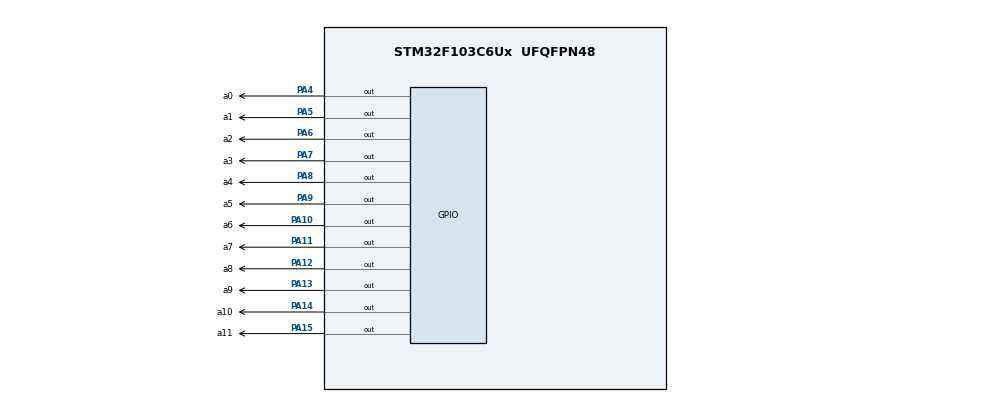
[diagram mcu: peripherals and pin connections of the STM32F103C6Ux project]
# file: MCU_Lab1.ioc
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Mcu.Family=STM32F1
Mcu.Name=STM32F103C6Ux
Mcu.Package=UFQFPN48
NVIC.PriorityGroup=NVIC_PRIORITYGROUP_4
PA10.GPIO_Label=a6
PA10.Signal=GPIO_Output
PA11.GPIO_Label=a7
PA11.Signal=GPIO_Output
PA12.GPIO_Label=a8
PA12.Signal=GPIO_Output
PA13.GPIO_Label=a9
PA13.Signal=GPIO_Output
PA14.GPIO_Label=a10
PA14.Signal=GPIO_Output
PA15.GPIO_Label=a11
PA15.Signal=GPIO_Output
PA4.GPIO_Label=a0
PA4.Signal=GPIO_Output
PA5.GPIO_Label=a1
PA5.Signal=GPIO_Output
PA6.GPIO_Label=a2
PA6.Signal=GPIO_Output
PA7.GPIO_Label=a3
PA7.Signal=GPIO_Output
PA8.GPIO_Label=a4
PA8.Signal=GPIO_Output
PA9.GPIO_Label=a5
PA9.Signal=GPIO_Output
ProjectManager.HeapSize=0x200
ProjectManager.StackSize=0x400
ProjectManager.TargetToolchain=STM32CubeIDE
RCC.APB1Freq_Value=8000000
RCC.APB2Freq_Value=8000000
VP_SYS_VS_ND.Mode=No_Debug
board=custom

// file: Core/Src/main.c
/* USER CODE BEGIN Header */
/**
  ******************************************************************************
  * @file           : main.c
  * @brief          : Main program body
  ******************************************************************************
  * @attention
  *
  * <h2><center>&copy; Copyright (c) 2025 STMicroelectronics.
  * All rights reserved.</center></h2>
  *
  * This software component is licensed by ST under BSD 3-Clause license,
  * the "License"; You may not use this file except in compliance with the
  * License. You may obtain a copy of the License at:
  *                        opensource.org/licenses/BSD-3-Clause
  *
  ******************************************************************************
  */
/* USER CODE END Header */
#include "main.h"

void SystemClock_Config(void);
static void MX_GPIO_Init(void);

/* USER CODE BEGIN 0 */
uint16_t led_pins[12] = {
    a0_Pin, a1_Pin, a2_Pin, a3_Pin,
    a4_Pin, a5_Pin, a6_Pin, a7_Pin,
    a8_Pin, a9_Pin, a10_Pin, a11_Pin
};

int oldHour = -1;
int oldMinute = -1;
int oldSecond = -1;
/* USER CODE END 0 */

int main(void)
{
  /* USER CODE BEGIN 1 */
	int hour = 0, minute = 0, second = 0;
    int state = 0;   // 0 = đang bật dần, 1 = đang tắt dần
    int index = 0;   // vị trí LED
  /* USER CODE END 1 */

  /* MCU Configuration--------------------------------------------------------*/

  /* Reset of all peripherals, Initializes the Flash interface and the Systick. */
  HAL_Init();

  /* Configure the system clock */
  SystemClock_Config();

  /* Initialize all configured peripherals */
  MX_GPIO_Init();
  /* USER CODE BEGIN 2 */
  //displayClock(hour, minute, second);
  /* USER CODE END 2 */

  /* Infinite loop */
  while (1)
  {

    /* USER CODE BEGIN 3 */
      if (state == 0) {
          // Bật LED từng cái
          setNumberOnClock(index);
          index++;
          if (index >= 12) {
              state = 1;  // chuyển sang chế độ clear
              index = 0;
          }
      } else {
          // Tắt LED từng cái
          clearNumberOnClock(index);
          index++;
          if (index >= 12) {
              state = 0;  // quay lại chế độ set
              index = 0;
          }
      }

      HAL_Delay(500); // chỉ 1 delay cho mỗi lần bật/tắt
}
  /* USER CODE END 3 */
}

void SystemClock_Config(void)
{
  RCC_OscInitTypeDef RCC_OscInitStruct = {0};
  RCC_ClkInitTypeDef RCC_ClkInitStruct = {0};

  /** Initializes the RCC Oscillators according to the specified parameters
  * in the RCC_OscInitTypeDef structure.
  */
  RCC_OscInitStruct.OscillatorType = RCC_OSCILLATORTYPE_HSI;
  RCC_OscInitStruct.HSIState = RCC_HSI_ON;
  RCC_OscInitStruct.HSICalibrationValue = RCC_HSICALIBRATION_DEFAULT;
  RCC_OscInitStruct.PLL.PLLState = RCC_PLL_NONE;
  if (HAL_RCC_OscConfig(&RCC_OscInitStruct) != HAL_OK)
  {
    Error_Handler();
  }
  /** Initializes the CPU, AHB and APB buses clocks
  */
  RCC_ClkInitStruct.ClockType = RCC_CLOCKTYPE_HCLK|RCC_CLOCKTYPE_SYSCLK
                              |RCC_CLOCKTYPE_PCLK1|RCC_CLOCKTYPE_PCLK2;
  RCC_ClkInitStruct.SYSCLKSource = RCC_SYSCLKSOURCE_HSI;
  RCC_ClkInitStruct.AHBCLKDivider = RCC_SYSCLK_DIV1;
  RCC_ClkInitStruct.APB1CLKDivider = RCC_HCLK_DIV1;
  RCC_ClkInitStruct.APB2CLKDivider = RCC_HCLK_DIV1;

  if (HAL_RCC_ClockConfig(&RCC_ClkInitStruct, FLASH_LATENCY_0) != HAL_OK)
  {
    Error_Handler();
  }
}

static void MX_GPIO_Init(void)
{
  GPIO_InitTypeDef GPIO_InitStruct = {0};

  /* GPIO Ports Clock Enable */
  __HAL_RCC_GPIOA_CLK_ENABLE();

  /*Configure GPIO pin Output Level */
  HAL_GPIO_WritePin(GPIOA, a0_Pin|a1_Pin|a2_Pin|a3_Pin
                          |a4_Pin|a5_Pin|a6_Pin|a7_Pin
                          |a8_Pin|a9_Pin|a10_Pin|a11_Pin, GPIO_PIN_SET);

  /*Configure GPIO pins : a0_Pin a1_Pin a2_Pin a3_Pin
                           a4_Pin a5_Pin a6_Pin a7_Pin
                           a8_Pin a9_Pin a10_Pin a11_Pin */
  GPIO_InitStruct.Pin = a0_Pin|a1_Pin|a2_Pin|a3_Pin
                          |a4_Pin|a5_Pin|a6_Pin|a7_Pin
                          |a8_Pin|a9_Pin|a10_Pin|a11_Pin;
  GPIO_InitStruct.Mode = GPIO_MODE_OUTPUT_PP;
  GPIO_InitStruct.Pull = GPIO_NOPULL;
  GPIO_InitStruct.Speed = GPIO_SPEED_FREQ_LOW;
  HAL_GPIO_Init(GPIOA, &GPIO_InitStruct);

}

/* USER CODE BEGIN 4 */
void clearAllClock(void) {
    for (int i = 0; i < 12; i++) {
        HAL_GPIO_WritePin(GPIOA, led_pins[i], GPIO_PIN_SET);
    }
}

// Bật LED tại vị trí num (0–11)
void setNumberOnClock(int num) {
    if (num < 0 || num > 11) return;
    HAL_GPIO_WritePin(GPIOA, led_pins[num], GPIO_PIN_RESET);
}

// Tắt LED tại vị trí num (0–11)
void clearNumberOnClock(int num) {
    if (num < 0 || num > 11) return;
    HAL_GPIO_WritePin(GPIOA, led_pins[num], GPIO_PIN_SET);
}

// Hiển thị đồng hồ analog với giờ, phút, giây
void displayClock(int hour, int minute, int second) {
    // Tính vị trí LED cho giờ, phút, giây
    int hourPos = hour % 12; // Giờ trong định dạng 12 giờ
    int minPos = minute / 5; // Mỗi 5 phút tương ứng 1 LED
    int secPos = second / 5; // Mỗi 5 giây tương ứng 1 LED

    // Xóa LED ở vị trí cũ nếu không còn được sử dụng bởi kim nào
    if (oldHour != hourPos && oldHour != -1 && oldHour != minPos && oldHour != secPos) {
        clearNumberOnClock(oldHour);
    }
    if (oldMinute != minPos && oldMinute != -1 && oldMinute != hourPos && oldMinute != secPos) {
        clearNumberOnClock(oldMinute);
    }
    if (oldSecond != secPos && oldSecond != -1 && oldSecond != hourPos && oldSecond != minPos) {
        clearNumberOnClock(oldSecond);
    }

    // Bật LED cho giờ, phút, giây, kiểm tra chồng lấn
    setNumberOnClock(hourPos); // Kim giờ
    if (minPos != hourPos) {
        setNumberOnClock(minPos); // Kim phút
    }
    if (secPos != hourPos && secPos != minPos) {
        setNumberOnClock(secPos); // Kim giây
    }

    // Cập nhật trạng thái hiện tại
    oldHour = hourPos;
    oldMinute = minPos;
    oldSecond = secPos;
}

/* USER CODE END 4 */

void Error_Handler(void)
{
  __disable_irq();
  while (1)
  {
  }
}

/************************ (C) COPYRIGHT STMicroelectronics *****END OF FILE****/
